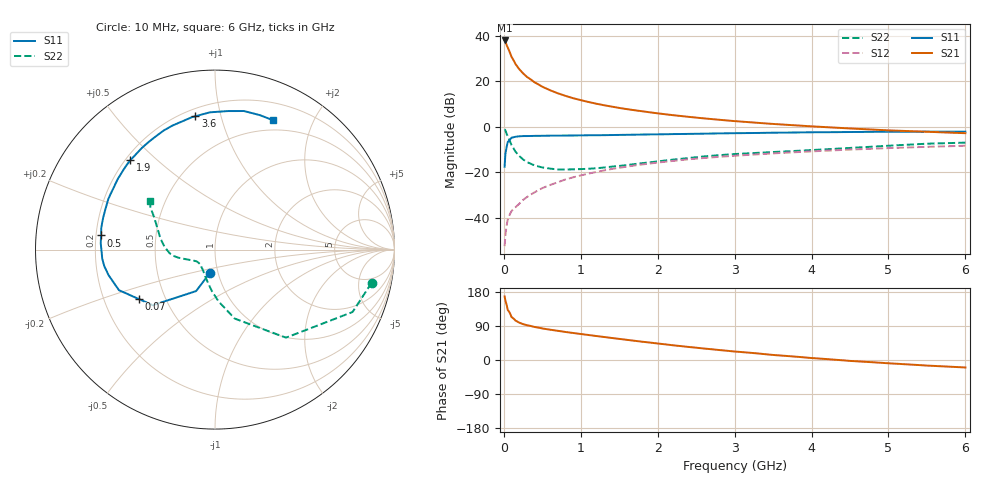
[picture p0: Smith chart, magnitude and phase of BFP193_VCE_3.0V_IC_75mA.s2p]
! Infineon Technologies  Discrete & RF Semiconductors
! BFP193
! VCE =  3.0 V,  IC =  75 mA
! Common Emitter S-Parameters:  Jan 2017
# GHz  S  MA  R  50
!  f  S11  S21  S12  S22
! GHz  MAG  ANG  MAG  ANG  MAG  ANG  MAG  ANG
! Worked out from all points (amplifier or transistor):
!   77 points, 10 MHz to 6 GHz, reference 50 ohm
!   highest |S21| = 38.0 dB at 10 MHz (marker M1)
!   |S21| within 3 dB of that: start of sweep to 49.03 MHz
!   unconditionally stable (mu >= 1): 370.6 MHz to 2.388 GHz
!   at 130 MHz: K = 0.74, MSG = 32.5 dB, |S12| = -36.0 dB
!   at 2.2 GHz: K = 1.01, MAG = 9.4 dB, |S12| = -14.9 dB
!   at 6 GHz: K = 0.94, MSG = 2.8 dB, |S12| = -8.2 dB
!   S11 on the Smith chart (normalised r, x): 10 MHz: 0.91, -0.24; 70 MHz: 0.36, -0.26; 500 MHz: 0.22, +0.06; 1.9 GHz: 0.22, +0.41; 3.6 GHz: 0.24, +0.83; 6 GHz: 0.38, +1.48
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0.01  0.1337 -102.4  79.74 167.9  0.0024 84.0  0.8919 -12.0
0.02  0.254 -114.5  75.87 156.9  0.0041 74.9  0.8416 -24.4
0.05  0.4651 -138.2  55.96 132.4  0.0091 62.7  0.6302 -51.1
0.07  0.5045 -146.8  46.94 126.8  0.0111 61.9  0.5291 -57.9
0.1  0.5809 -157.1  34.79 113.2  0.0142 61.1  0.3999 -74.0
0.15  0.6095 -166.4  24.41 104.2  0.0171 62.7  0.2886 -86.2
0.2  0.6237 -171.5  18.68 98.7  0.0205 66.1  0.2303 -94.6
0.25  0.6305 -175.5  15.09 94.6  0.0249 66.9  0.1935 -100.9
0.3  0.6316 -178.5  12.62 91.8  0.0288 69.6  0.1694 -106.9
0.4  0.6375 176.9  9.568 87.1  0.0366 70.7  0.1426 -115.5
0.5  0.6396 172.9  7.67 83.3  0.0453 71.2  0.129 -122.7
0.7  0.6462 166.5  5.515 77.1  0.0608 71.0  0.1164 -133.6
0.9  0.6501 160.5  4.296 71.3  0.0782 69.5  0.1172 -140.7
1.1  0.6577 154.7  3.544 66.0  0.0944 67.7  0.1207 -146.2
1.5  0.6694 144.0  2.622 55.7  0.1266 62.9  0.1394 -155.0
1.9  0.686 133.5  2.098 46.0  0.1574 57.6  0.1671 -161.1
2.1  0.6923 128.3  1.903 41.3  0.1722 54.9  0.1832 -164.0
3.1  0.7326 107.2  1.308 20.8  0.2388 41.6  0.2592 -177.2
3.6  0.7508 98.4  1.138 11.8  0.2681 35.6  0.287 175.0
4.1  0.7662 90.7  1.011 3.8  0.296 29.5  0.3173 166.2
5.1  0.7881 76.9  0.831 -9.8  0.3475 17.6  0.3951 150.6
6  0.7902 65.8  0.73 -19.8  0.3874 7.5  0.4527 143.1
